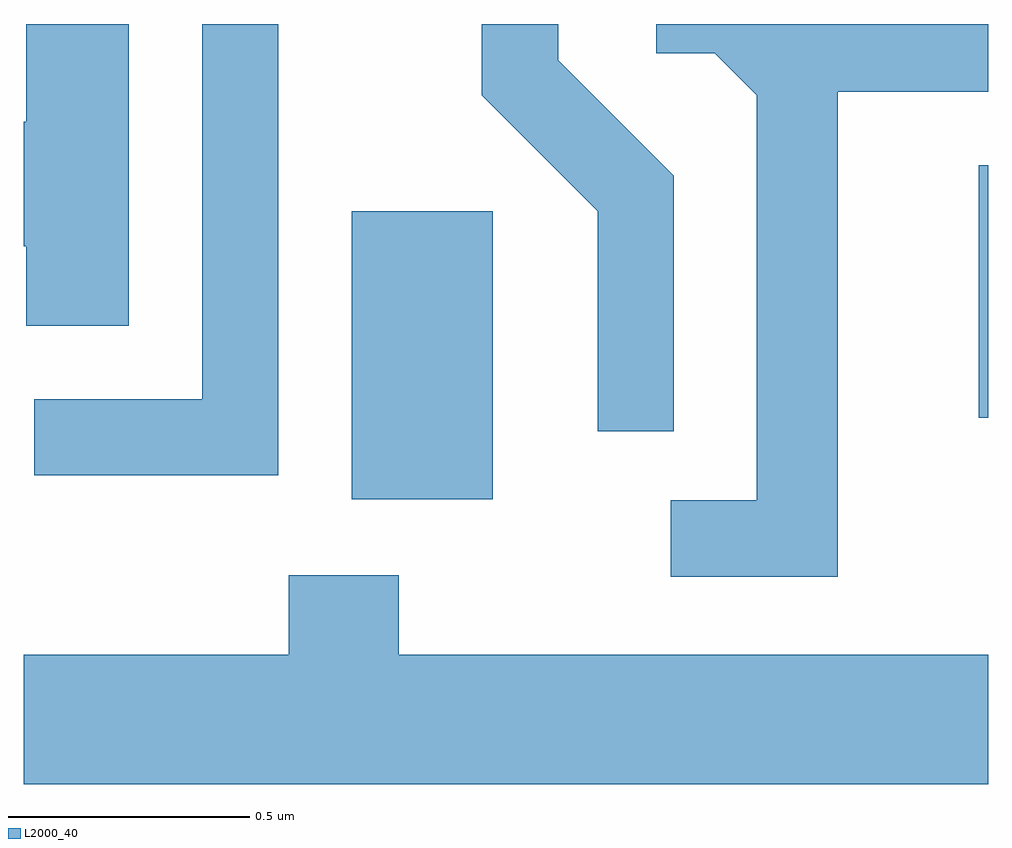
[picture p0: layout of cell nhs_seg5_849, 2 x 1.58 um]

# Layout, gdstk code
import gdstk
lib = gdstk.Library(unit=1e-6, precision=1e-09)
def R(c, l, rs):  # rectangles x0, y0, x1, y1
    for r in rs: c.add(gdstk.rectangle(r[:2], r[2:], *l))
def P(c, l, *ps):  # polygons
    for p in ps: c.add(gdstk.Polygon(p, *l))
L2000_40 = (2000, 40)

nhs_seg5_849 = lib.new_cell('nhs_seg5_849')
R(nhs_seg5_849, L2000_40, [(192.291,1424.086,192.584,1424.684), (193.591,1424.256,193.611,1424.779)])
P(nhs_seg5_849, L2000_40, [(191.829,1425.072),(191.616,1425.072),(191.616,1424.869),(191.611,1424.869),(191.611,1424.611),(191.616,1424.611),(191.616,1424.446),(191.829,1424.446)],
  [(193.299,1424.931),(193.611,1424.931),(193.611,1425.072),(192.923,1425.072),(192.923,1425.011),(193.044,1425.011),(193.131,1424.924),(193.131,1424.084),(192.953,1424.084),(192.953,1423.926),(193.299,1423.926)],
  [(192.139,1425.072),(191.981,1425.072),(191.981,1424.294),(191.633,1424.294),(191.633,1424.136),(192.139,1424.136)],
  [(192.959,1424.757),(192.719,1424.997),(192.719,1425.072),(192.561,1425.072),(192.561,1424.924),(192.801,1424.684),(192.801,1424.228),(192.959,1424.228)],
  [(193.611,1423.764),(192.389,1423.764),(192.389,1423.929),(192.161,1423.929),(192.161,1423.764),(191.611,1423.764),(191.611,1423.496),(193.611,1423.496)])

lib.write_gds('nhs_seg5_849.gds')
